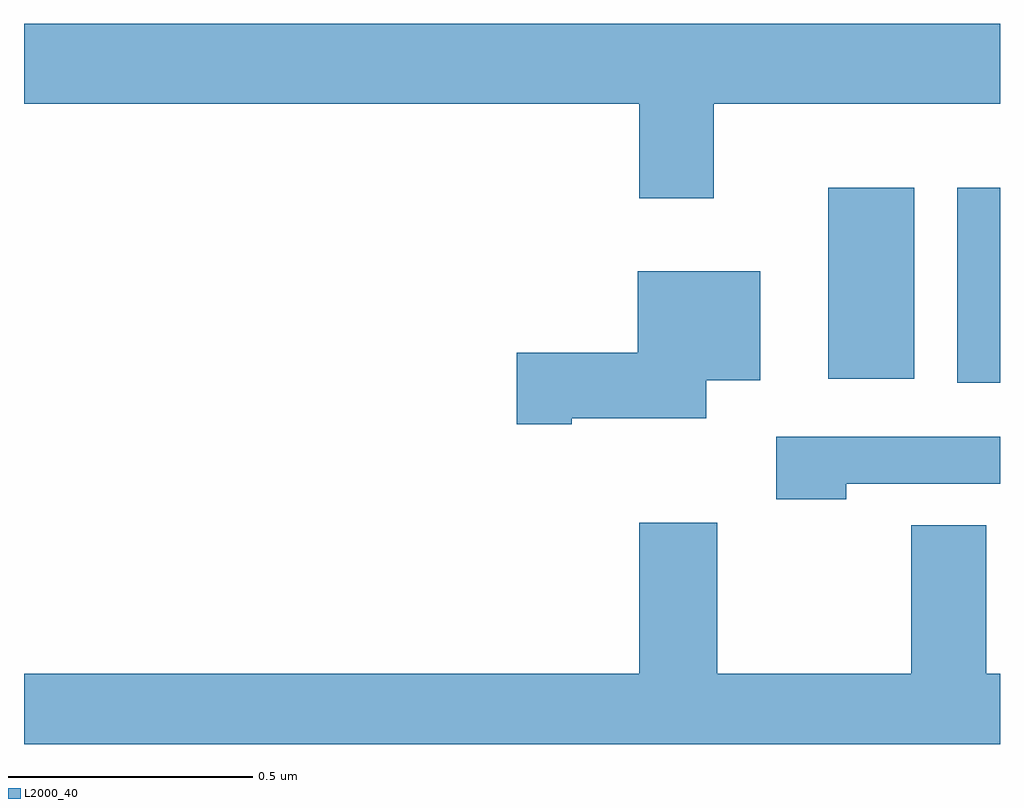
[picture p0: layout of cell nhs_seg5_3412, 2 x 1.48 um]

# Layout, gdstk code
import gdstk
lib = gdstk.Library(unit=1e-6, precision=1e-09)
def R(c, l, rs):  # rectangles x0, y0, x1, y1
    for r in rs: c.add(gdstk.rectangle(r[:2], r[2:], *l))
def P(c, l, *ps):  # polygons
    for p in ps: c.add(gdstk.Polygon(p, *l))
L2000_40 = (2000, 40)

nhs_seg5_3412 = lib.new_cell('nhs_seg5_3412')
R(nhs_seg5_3412, L2000_40, [(158.912,837.54,159,837.94), (158.648,837.548,158.824,837.94)])
P(nhs_seg5_3412, L2000_40, [(158.413,838.112),(159,838.112),(159,838.276),(157,838.276),(157,838.112),(158.261,838.112),(158.261,837.918),(158.413,837.918)],
  [(158.122,837.467),(158.398,837.467),(158.398,837.545),(158.509,837.545),(158.509,837.769),(158.258,837.769),(158.258,837.602),(158.01,837.602),(158.01,837.455),(158.122,837.455)],
  [(158.685,837.333),(159,837.333),(159,837.429),(158.541,837.429),(158.541,837.301),(158.685,837.301)],
  [(157,836.799),(159,836.799),(159,836.944),(158.972,836.944),(158.972,837.248),(158.818,837.248),(158.818,836.944),(158.421,836.944),(158.421,837.253),(158.261,837.253),(158.261,836.944),(157,836.944)])

lib.write_gds('nhs_seg5_3412.gds')
